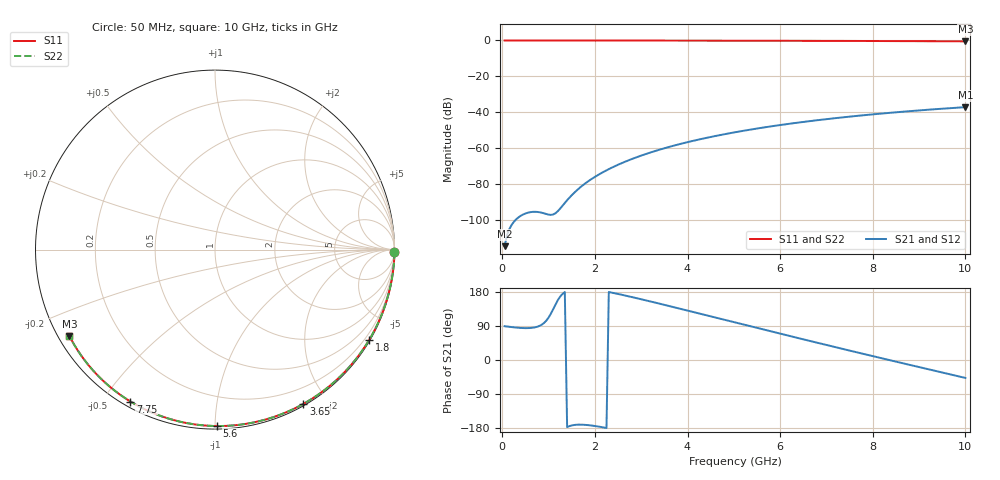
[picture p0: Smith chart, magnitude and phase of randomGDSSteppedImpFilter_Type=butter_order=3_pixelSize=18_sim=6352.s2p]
! freq	dB(S11)	phase(S11)	dB(S12)	phase(S12)
!  dB(S21)	phase(S21)	dB(S22)	phase(S22)
!S-par simulation data
#  GHz  S  DB  R 50
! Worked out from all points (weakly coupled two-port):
!   200 points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, 50 MHz to 10 GHz, reference 50 ohm
!   highest |S21| = -37.19 dB at 10 GHz (marker M1); lowest = -114.7 dB at 50 MHz (marker M2)
!   lowest |S11| = -0.5 dB at 10 GHz (marker M3), VSWR 34.35, Z = 1.57 - j13.7 ohm
!   |S11| at or under -10 dB: nowhere
!   |S22| runs from -0.5 to 0.0 dB; largest |S21 - S12| = 0
!   S11 on the Smith chart (normalised r, x): 50 MHz: open; 1.8 GHz: 0.03, -3.67; 3.65 GHz: 0.02, -1.72; 5.6 GHz: 0.02, -1.01; 7.75 GHz: 0.02, -0.59; 10 GHz: 0.03, -0.27
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0.05  -0.00 -0.9  -114.70 89.2  -114.70 89.2  -0.00 -0.9
0.45  -0.01 -7.7  -97.03 84.2  -97.03 84.2  -0.01 -7.7
0.9  -0.02 -15.4  -96.39 97.6  -96.39 97.6  -0.02 -15.4
1.75  -0.04 -29.6  -80.52 -170.9  -80.52 -170.9  -0.04 -29.6
1.8  -0.04 -30.5  -79.54 -171.3  -79.54 -171.3  -0.04 -30.5
1.95  -0.04 -33.0  -76.87 -173.3  -76.87 -173.3  -0.04 -33.0
2.1  -0.05 -35.4  -74.52 -176.1  -74.52 -176.1  -0.05 -35.4
2.3  -0.05 -38.7  -71.74 179.4  -71.74 179.4  -0.05 -38.7
2.5  -0.05 -42.0  -69.29 174.3  -69.29 174.3  -0.05 -42.0
2.9  -0.06 -48.4  -65.12 163.2  -65.12 163.2  -0.06 -48.4
3.4  -0.07 -56.3  -60.85 148.5  -60.85 148.5  -0.07 -56.3
3.65  -0.08 -60.2  -59.02 141.0  -59.02 141.0  -0.08 -60.2
4.3  -0.10 -70.2  -54.91 121.3  -54.91 121.3  -0.10 -70.2
5.05  -0.13 -81.3  -51.07 98.4  -51.07 98.4  -0.13 -81.3
5.6  -0.15 -89.3  -48.70 81.6  -48.70 81.6  -0.15 -89.3
6.15  -0.17 -97.1  -46.62 65.0  -46.62 65.0  -0.17 -97.1
6.7  -0.20 -104.8  -44.78 48.5  -44.78 48.5  -0.20 -104.8
7.2  -0.24 -111.6  -43.29 33.7  -43.29 33.7  -0.24 -111.6
7.75  -0.28 -119.1  -41.82 17.5  -41.82 17.5  -0.28 -119.1
8.35  -0.33 -127.1  -40.38 0.0  -40.38 0.0  -0.33 -127.1
9.2  -0.41 -138.5  -38.61 -24.5  -38.61 -24.5  -0.41 -138.5
10  -0.51 -149.3  -37.19 -47.3  -37.19 -47.3  -0.51 -149.3
